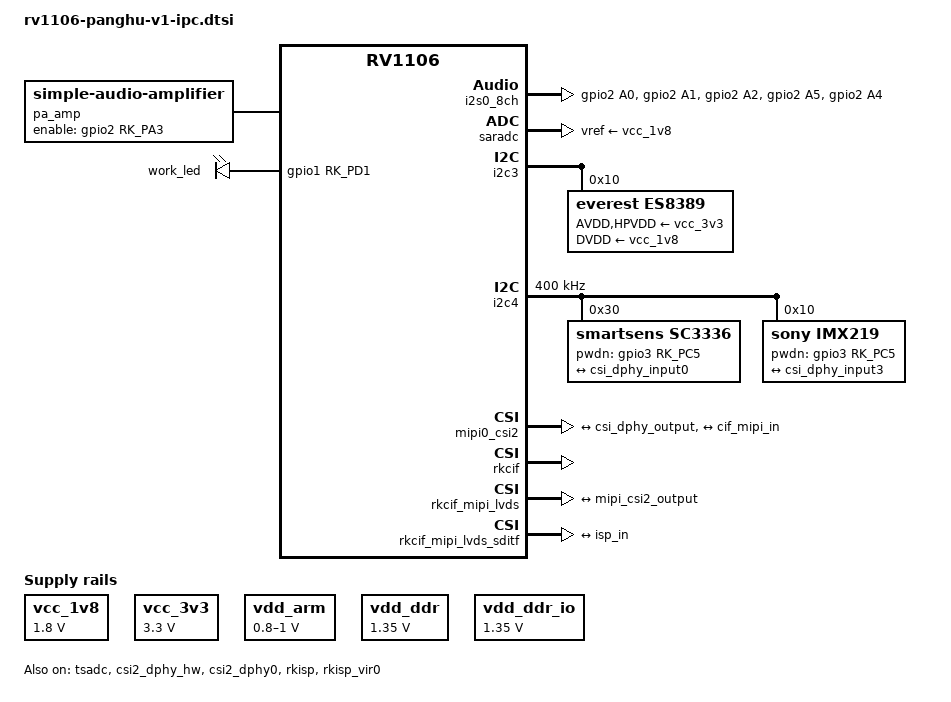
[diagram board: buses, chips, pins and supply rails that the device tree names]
// SPDX-License-Identifier: (GPL-2.0+ OR MIT)
/*
 * Copyright (c) 2022 Rockchip Electronics Co., Ltd.
 */
#include "rv1106-amp.dtsi"

/ {
	chosen {
		bootargs = "earlycon=uart8250,mmio32,0xff4c0000 console=ttyFIQ0 root=/dev/mmcblk1p7 rootwait snd_soc_core.prealloc_buffer_size_kbytes=16 coherent_pool=0";
	};

	reserved_memory: reserved-memory {
		#address-cells = <1>;
		#size-cells = <1>;
		ranges;
		
		drm_logo: drm-logo@00000000 {
			compatible = "rockchip,drm-logo";
			reg = <0x0 0x0>;
		};
		
		rkisp_reserved: rkisp@0 {
			compatible = "shared-dma-pool";
			inactive;
			reusable;
			size = <0x800000>; //8M for ISP
		};
		
		linux,cma {
			status = "okay";
			compatible = "shared-dma-pool";
			inactive;
			reusable;
			size = <0xA00000>; //10M
			linux,cma-default;
		};
	};

	acodec_sound: acodec-sound {
		status = "disabled";
		compatible = "simple-audio-card";
		simple-audio-card,name = "rv-acodec";
		simple-audio-card,format = "i2s";
		simple-audio-card,mclk-fs = <256>;
		simple-audio-card,cpu {
			sound-dai = <&i2s0_8ch>;
		};
		simple-audio-card,codec {
			sound-dai = <&acodec>;
		};
	};

	/* ES8389音频编解码器声卡 */
	es8389_sound: es8389-sound {
		status = "okay";
		compatible = "simple-audio-card";
		simple-audio-card,name = "ES8389-HiFi";
		simple-audio-card,format = "i2s";
		simple-audio-card,mclk-fs = <256>;
		
		/* PA功放控制 */
		simple-audio-card,aux-devs = <&pa_amp>;
		
		simple-audio-card,widgets =
			"Microphone", "Mic Jack",
			"Headphone", "Headphones",
			"Speaker", "Speaker";
		
		simple-audio-card,routing =
			"INPUT1", "Mic Jack",
			"INPUT2", "Mic Jack",
			"Headphones", "HPOL",
			"Headphones", "HPOR",
			"Speaker", "HPOL",
			"Speaker", "HPOR";
		
		simple-audio-card,cpu {
			sound-dai = <&i2s0_8ch>;
		};
		
		simple-audio-card,codec {
			sound-dai = <&es8389>;
		};
	};
	
	/* PA功放控制节点 */
	pa_amp: pa-amplifier {
		compatible = "simple-audio-amplifier";
		enable-gpios = <&gpio2 RK_PA3 GPIO_ACTIVE_HIGH>;
		sound-name-prefix = "PA";
	};

	vcc_1v8: vcc-1v8 {
		compatible = "regulator-fixed";
		regulator-name = "vcc_1v8";
		regulator-always-on;
		regulator-boot-on;
		regulator-min-microvolt = <1800000>;
		regulator-max-microvolt = <1800000>;
	};

	vcc_3v3: vcc-3v3 {
		compatible = "regulator-fixed";
		regulator-name = "vcc_3v3";
		regulator-always-on;
		regulator-boot-on;
		regulator-min-microvolt = <3300000>;
		regulator-max-microvolt = <3300000>;
	};

	vdd_arm: vdd-arm {
		compatible = "regulator-fixed";
		regulator-name = "vdd_arm";
		regulator-min-microvolt = <800000>;
		regulator-max-microvolt = <1000000>;
		regulator-init-microvolt = <900000>;
		regulator-always-on;
		regulator-boot-on;
	};

	// 这个ddr的电压是axp2101给的电压，需配置2101之后才可以设置ddr的电压(待实现)
	vdd_ddr: vdd-ddr {
		compatible = "regulator-fixed";
		regulator-name = "vdd_ddr";
		regulator-min-microvolt = <1350000>;
		regulator-max-microvolt = <1350000>;
		regulator-always-on;
		regulator-boot-on;
	};

	vdd_ddr_io: vdd-ddr-io {
		compatible = "regulator-fixed";
		regulator-name = "vdd_ddr_io";
		regulator-min-microvolt = <1350000>;
		regulator-max-microvolt = <1350000>;
		regulator-always-on;
		regulator-boot-on;
	};

	leds: leds {
		compatible = "gpio-leds";
		work_led: work{
			gpios = <&gpio1 RK_PD1 GPIO_ACTIVE_HIGH>;
			linux,default-trigger = "activity";
			default-state = "on";
		};	
	};

};

/***************************** AUDIO ********************************/
&i2s0_8ch {
	#sound-dai-cells = <0>;
	status = "okay";
	pinctrl-names = "default";
	pinctrl-0 = <&i2s0_custom_pins>;
	rockchip,playback-channels = <2>;
	rockchip,capture-channels = <2>;
};

&acodec {
	status = "disabled";
	#sound-dai-cells = <0>;
	pa-ctl-gpios = <&gpio0 RK_PA2 GPIO_ACTIVE_LOW>;
};

/***************************** CPU ********************************/
&cpu0 {
	cpu-supply = <&vdd_arm>;
};

/***************************** ADC ********************************/
&saradc {
	status = "okay";
	vref-supply = <&vcc_1v8>;
};

&tsadc {
	status = "okay";
};

/***************************** CSI ********************************/
&csi2_dphy_hw {
	status = "okay";
};

&csi2_dphy0 {
	status = "okay";

	ports {
		#address-cells = <1>;
		#size-cells = <0>;

		port@0 {
			reg = <0>;
			#address-cells = <1>;
			#size-cells = <0>;

			csi_dphy_input0: endpoint@0 {
				reg = <0>;
				remote-endpoint = <&sc3336_out>;
				data-lanes = <1 2>;
			};

			csi_dphy_input1: endpoint@1 {
				reg = <1>;
				remote-endpoint = <&sc4336_out>;
				data-lanes = <1 2>;
			};

			csi_dphy_input2: endpoint@2 {
				reg = <2>;
				remote-endpoint = <&sc530ai_out>;
				data-lanes = <1 2>;
			};

			csi_dphy_input3: endpoint@3 {
				reg = <3>;
				remote-endpoint = <&imx219_out>;
				data-lanes = <1 2>;
			};

		};

		port@1 {
			reg = <1>;
			#address-cells = <1>;
			#size-cells = <0>;

			csi_dphy_output: endpoint@0 {
				reg = <0>;
				remote-endpoint = <&mipi_csi2_input>;
			};
		};
	};
};

/* I2C3: ES8389音频编解码器 */
&i2c3 {
	es8389: es8389@10 {
		compatible = "everest,es8389";
		reg = <0x10>;
		status = "okay";
		
		/* MCLK时钟配置 */
		clocks = <&cru MCLK_I2S0_8CH_TX>;
		clock-names = "mclk";
		assigned-clocks = <&cru MCLK_I2S0_8CH_TX>;
		assigned-clock-rates = <12288000>;  /* 48kHz * 256 */
		
		/* MCLK来源: 0=MCLK引脚, 1=SCLK引脚 */
		everest,mclk-src = <0>;
		
		/* 电源域配置 */
		AVDD-supply = <&vcc_3v3>;
		DVDD-supply = <&vcc_1v8>;
		HPVDD-supply = <&vcc_3v3>;
		
		#sound-dai-cells = <0>;
	};
};

&i2c4 {
	status = "okay";
	clock-frequency = <400000>;
	pinctrl-names = "default";
	pinctrl-0 = <&i2c4m2_xfer>;

	sc3336: sc3336@30 {
		compatible = "smartsens,sc3336";
		status = "okay";
		reg = <0x30>;
		clocks = <&cru MCLK_REF_MIPI0>;
		clock-names = "xvclk";
		pwdn-gpios = <&gpio3 RK_PC5 GPIO_ACTIVE_HIGH>;
		pinctrl-names = "default";
		pinctrl-0 = <&mipi_refclk_out0>;
		rockchip,camera-module-index = <0>;
		rockchip,camera-module-facing = "back";
		rockchip,camera-module-name = "CMK-OT2119-PC1";
		rockchip,camera-module-lens-name = "30IRC-F16";
		port {
			sc3336_out: endpoint {
				remote-endpoint = <&csi_dphy_input0>;
				data-lanes = <1 2>;
			};
		};
	};

	sc4336: sc4336@30 {
		compatible = "smartsens,sc4336";
		status = "disabled";
		reg = <0x30>;
		clocks = <&cru MCLK_REF_MIPI0>;
		clock-names = "xvclk";
		pwdn-gpios = <&gpio3 RK_PC5 GPIO_ACTIVE_HIGH>;
		pinctrl-names = "default";
		pinctrl-0 = <&mipi_refclk_out0>;
		rockchip,camera-module-index = <0>;
		rockchip,camera-module-facing = "back";
		rockchip,camera-module-name = "OT01";
		rockchip,camera-module-lens-name = "40IRC_F16";
		port {
			sc4336_out: endpoint {
				remote-endpoint = <&csi_dphy_input1>;
				data-lanes = <1 2>;
			};
		};
	};

	sc530ai: sc530ai@30 {
		compatible = "smartsens,sc530ai";
		status = "disabled";
		reg = <0x30>;
		clocks = <&cru MCLK_REF_MIPI0>;
		clock-names = "xvclk";
		pwdn-gpios = <&gpio3 RK_PC5 GPIO_ACTIVE_HIGH>;
		pinctrl-names = "default";
		pinctrl-0 = <&mipi_refclk_out0>;
		rockchip,camera-module-index = <0>;
		rockchip,camera-module-facing = "back";
		rockchip,camera-module-name = "CMK-OT2115-PC1";
		rockchip,camera-module-lens-name = "30IRC-F16";
		port {
			sc530ai_out: endpoint {
				remote-endpoint = <&csi_dphy_input2>;
				data-lanes = <1 2>;
			};
		};
	};

	imx219: imx219@10 {
		compatible = "sony,imx219";
		status = "okay";
		reg = <0x10>;

		clocks = <&cru MCLK_REF_MIPI0>;


		clock-names = "xvclk";
		assigned-clocks = <&cru MCLK_REF_MIPI0>;
        assigned-clock-rates = <24000000>;

		pwdn-gpios = <&gpio3 RK_PC5 GPIO_ACTIVE_HIGH>;

		pinctrl-names = "default";
		pinctrl-0 = <&mipi_refclk_out0>;
		rockchip,camera-module-index = <0>;
		rockchip,camera-module-facing = "back";
		rockchip,camera-module-name = "default";
		rockchip,camera-module-lens-name = "default";
		
		port {
			imx219_out: endpoint {
				remote-endpoint = <&csi_dphy_input3>;
				data-lanes = <1 2>;
				link-frequencies = /bits/ 64 <456000000>;
			};
		};
	};

};

&mipi0_csi2 {
	status = "okay";

	ports {
		#address-cells = <1>;
		#size-cells = <0>;

		port@0 {
			reg = <0>;
			#address-cells = <1>;
			#size-cells = <0>;

			mipi_csi2_input: endpoint@1 {
				reg = <1>;
				remote-endpoint = <&csi_dphy_output>;
			};
		};

		port@1 {
			reg = <1>;
			#address-cells = <1>;
			#size-cells = <0>;

			mipi_csi2_output: endpoint@0 {
				reg = <0>;
				remote-endpoint = <&cif_mipi_in>;
			};
		};
	};
};

&rkcif {
	status = "okay";
};

&rkcif_mipi_lvds {
	status = "okay";

	pinctrl-names = "default";
	pinctrl-0 = <&mipi_pins>;
	port {
		/* MIPI CSI-2 endpoint */
		cif_mipi_in: endpoint {
			remote-endpoint = <&mipi_csi2_output>;
		};
	};
};

&rkcif_mipi_lvds_sditf {
	status = "okay";

	port {
		/* MIPI CSI-2 endpoint */
		mipi_lvds_sditf: endpoint {
			remote-endpoint = <&isp_in>;
		};
	};
};

&rkisp {
	status = "okay";
	memory-region = <&rkisp_reserved>;
};

&rkisp_vir0 {
	status = "okay";

	port@0 {
		isp_in: endpoint {
			remote-endpoint = <&mipi_lvds_sditf>;
		};
	};
};


/*****************************PINCTRL********************************/
// I2C
&i2c0 {
	pinctrl-0 = <&i2c0m2_xfer>;
};

&i2c1 {
	pinctrl-0 = <&i2c1m1_xfer>;
};

&i2c3 {
	pinctrl-0 = <&i2c3m1_xfer>;
};

// &i2c4 {
//  pinctrl-0 = <&i2c4m0_xfer>;
// };

// UART
&uart0 {
	pinctrl-0 = <&uart0m0_xfer &uart0m1_xfer>;
};
&uart1 {
	pinctrl-0 = <&uart1m1_xfer>;
};
&uart3 {
	pinctrl-0 = <&uart3m1_xfer>;
};
&uart4 {
	pinctrl-0 = <&uart4m1_xfer>;
};
&uart5 {
	pinctrl-0 = <&uart5m0_xfer>;
};

&pinctrl {
	/* I2S0自定义引脚配置 (不含GPIO2_A3，避免与PA控制冲突) */
	i2s0_custom {
		i2s0_custom_pins: i2s0-custom-pins {
			rockchip,pins =
				/* i2s0_sclk */
				<2 RK_PA0 2 &pcfg_pull_none>,
				/* i2s0_lrck */
				<2 RK_PA1 2 &pcfg_pull_none>,
				/* i2s0_mclk */
				<2 RK_PA2 2 &pcfg_pull_none>,
				/* i2s0_sdo0 */
				<2 RK_PA5 2 &pcfg_pull_none>,
				/* i2s0_sdi0 */
				<2 RK_PA4 2 &pcfg_pull_none>;
		};
	};

};


